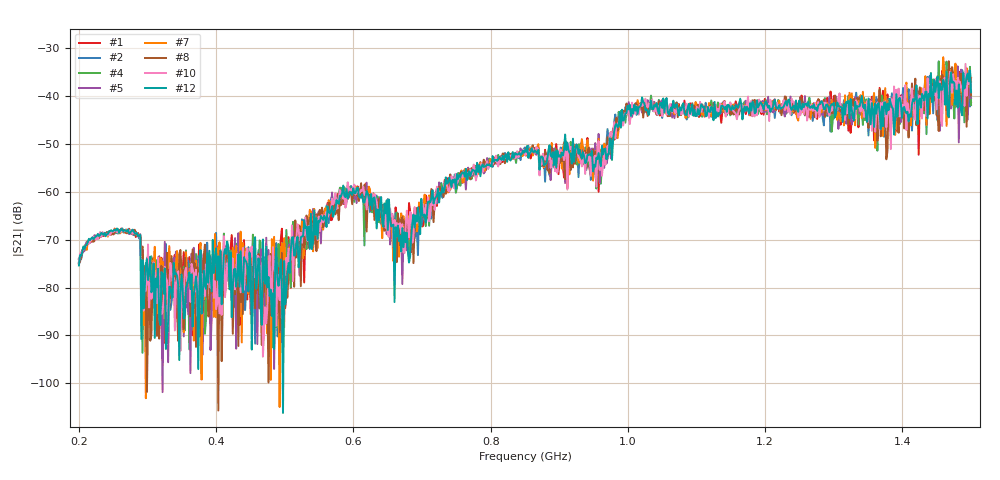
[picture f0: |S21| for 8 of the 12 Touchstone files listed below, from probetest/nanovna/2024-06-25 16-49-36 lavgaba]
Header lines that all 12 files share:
! NanoVNA-App
! Start: 200MHz Stop: 1.5GHz Points: 801
! S-Parameter data: F S11 S21 S12 S22
# Hz S RI R 50
!  Frequency  S11_Real  S11_Imag  S21_Real  S21_Imag  S12_Real  S12_Imag  S22_Real  S22_Imag
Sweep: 200 MHz to 1.5 GHz
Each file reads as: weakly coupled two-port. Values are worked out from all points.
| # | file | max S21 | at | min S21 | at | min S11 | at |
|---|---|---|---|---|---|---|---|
| 1 | 0.s2p | -34.74 dB | 1.458 GHz | -91.5 dB | 325.1 MHz | -11.6 dB | 1.155 GHz |
| 2 | 1.s2p | -34.26 dB | 1.469 GHz | -96.2 dB | 492.5 MHz | -11.6 dB | 1.157 GHz |
| 3 | 2.s2p | -32.74 dB | 1.468 GHz | -114.7 dB | 357.6 MHz | -11.6 dB | 1.154 GHz |
| 4 | 4.s2p | -32.76 dB | 1.453 GHz | -98.0 dB | 378.8 MHz | -11.6 dB | 1.155 GHz |
| 5 | 7.s2p | -33.80 dB | 1.48 GHz | -101.8 dB | 321.9 MHz | -11.6 dB | 1.152 GHz |
| 6 | 8.s2p | -35.31 dB | 1.453 GHz | -97.0 dB | 373.9 MHz | -11.6 dB | 1.152 GHz |
| 7 | 11.s2p | -31.90 dB | 1.459 GHz | -104.9 dB | 492.5 MHz | -11.6 dB | 1.154 GHz |
| 8 | 12.s2p | -32.75 dB | 1.468 GHz | -105.7 dB | 403.1 MHz | -11.6 dB | 1.154 GHz |
| 9 | 13.s2p | -34.02 dB | 1.489 GHz | -97.9 dB | 440.5 MHz | -11.6 dB | 1.155 GHz |
| 10 | 15.s2p | -33.30 dB | 1.492 GHz | -94.4 dB | 468.1 MHz | -11.6 dB | 1.157 GHz |
| 11 | 16.s2p | -33.30 dB | 1.474 GHz | -95.0 dB | 292.6 MHz | -11.6 dB | 1.152 GHz |
| 12 | 17.s2p | -34.69 dB | 1.498 GHz | -106.2 dB | 497.4 MHz | -11.6 dB | 1.152 GHz |
